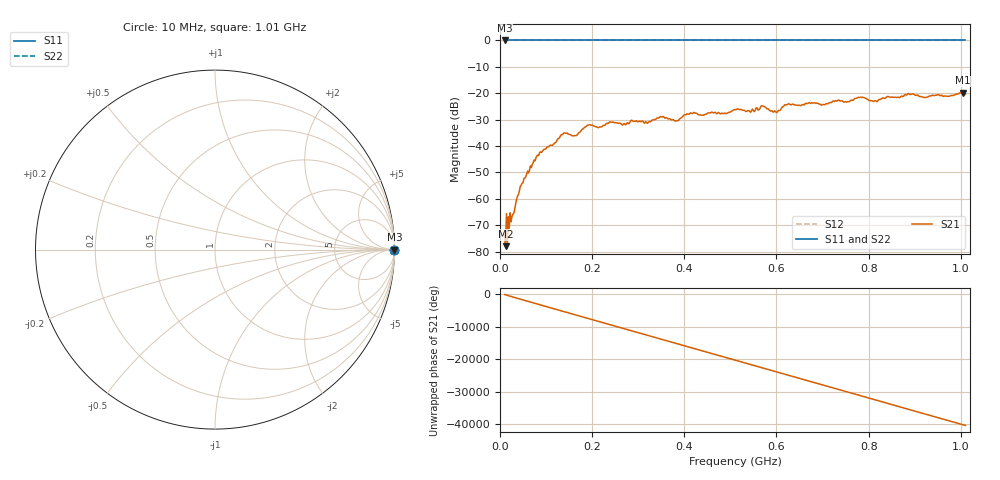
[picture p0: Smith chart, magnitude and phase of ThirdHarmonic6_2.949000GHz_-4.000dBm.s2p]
! 8/17/2025 8:17:10 AM
! C:\ANRITSUVNA\TEMP\TEMP.S2P
! CHANNEL.1
! TR.MEASUREMENT
! RAW.DATA
! RF.CORRECTION.OFF
! AVERAGING.OFF
! IF.BANDWIDTH: 5KHZ
! SWEEPTYPE:  FREQ.SWEEP(Linear)
! Reference Plane Port Info
! PORT:  PORT1  PORT2
! DISTANCE:  0  m  0  m
! TIME:  0  s  0  s
! PHASE.OFFSET:  0  deg.  0  deg.
! LOSS:  0  dB  0  dB
! REF.LOSS:  0  dB  0  dB
! REF.FREQ:  0  Hz  0  Hz
! Power Info
! POWER:  -20  dBm  -20  dBm
! EFF.POWER:  -20  dBm  -20  dBm
! SOURCE.ATTEN:  0  dB  0  dB
! TEST.ATTEN:  0  dB  0  dB
# GHZ S RI R 50.0
! FREQ.GHZ  S11RE  S11IM  S21RE  S21IM  S12RE  S12IM  S22RE  S22IM
!; PortSelection: Port_12
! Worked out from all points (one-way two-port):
!   501 points, 10 MHz to 1.01 GHz, reference 50 ohm
!   highest |S21| = -19.83 dB at 1.004 GHz (marker M1); lowest = -77.9 dB at 12 MHz (marker M2)
!   lowest |S11| = 0.0 dB at 10 MHz (marker M3)
!   |S11| at or under -10 dB: nowhere
!   |S22| runs from 0.0 to 0.0 dB; largest |S21 - S12| = 1.1
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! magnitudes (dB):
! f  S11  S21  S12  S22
! 10 MHz  0.0  -73.2  0.0  0.0
! 12 MHz  0.0  -77.9  0.0  0.0
! 18 MHz  0.0  -66.8  0.0  0.0
! 28 MHz  0.0  -65.8  0.0  0.0
! 48 MHz  0.0  -54.1  0.0  0.0
! 82 MHz  0.0  -43.4  0.0  0.0
! 136 MHz  0.0  -35.7  0.0  0.0
! 162 MHz  0.0  -36.1  0.0  0.0
! 178 MHz  0.0  -33.7  0.0  0.0
! 192 MHz  0.0  -32.0  0.0  0.0
! 318 MHz  0.0  -31.1  0.0  0.0
! 344 MHz  0.0  -29.4  0.0  0.0
! 384 MHz  0.0  -30.4  0.0  0.0
! 410 MHz  0.0  -27.9  0.0  0.0
! 510 MHz  0.0  -26.2  0.0  0.0
! 570 MHz  0.0  -24.8  0.0  0.0
! 598 MHz  0.0  -26.9  0.0  0.0
! 622 MHz  0.0  -24.4  0.0  0.0
! 678 MHz  0.0  -23.7  0.0  0.0
! 844 MHz  0.0  -21.4  0.0  0.0
! 1.004 GHz  0.0  -19.8  0.0  0.0
! 1.01 GHz  0.0  -20.4  0.0  0.0
